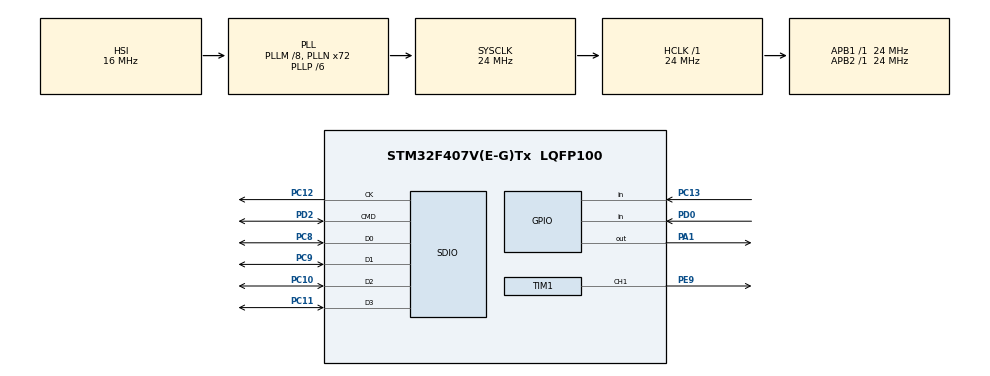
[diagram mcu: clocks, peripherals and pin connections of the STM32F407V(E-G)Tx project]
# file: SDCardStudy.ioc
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Dma.Request0=SDIO_TX
Dma.Request1=SDIO_RX
Dma.SDIO_RX.1.Direction=DMA_PERIPH_TO_MEMORY
Dma.SDIO_RX.1.FIFOMode=DMA_FIFOMODE_ENABLE
Dma.SDIO_RX.1.FIFOThreshold=DMA_FIFO_THRESHOLD_FULL
Dma.SDIO_RX.1.Instance=DMA2_Stream6
Dma.SDIO_RX.1.MemBurst=DMA_MBURST_INC4
Dma.SDIO_RX.1.MemDataAlignment=DMA_MDATAALIGN_WORD
Dma.SDIO_RX.1.MemInc=DMA_MINC_ENABLE
Dma.SDIO_RX.1.Mode=DMA_PFCTRL
Dma.SDIO_RX.1.PeriphBurst=DMA_PBURST_INC4
Dma.SDIO_RX.1.PeriphDataAlignment=DMA_PDATAALIGN_WORD
Dma.SDIO_RX.1.PeriphInc=DMA_PINC_DISABLE
Dma.SDIO_RX.1.Priority=DMA_PRIORITY_LOW
Dma.SDIO_TX.0.Direction=DMA_MEMORY_TO_PERIPH
Dma.SDIO_TX.0.FIFOMode=DMA_FIFOMODE_ENABLE
Dma.SDIO_TX.0.FIFOThreshold=DMA_FIFO_THRESHOLD_FULL
Dma.SDIO_TX.0.Instance=DMA2_Stream3
Dma.SDIO_TX.0.MemBurst=DMA_MBURST_INC4
Dma.SDIO_TX.0.MemDataAlignment=DMA_MDATAALIGN_WORD
Dma.SDIO_TX.0.MemInc=DMA_MINC_ENABLE
Dma.SDIO_TX.0.Mode=DMA_PFCTRL
Dma.SDIO_TX.0.PeriphBurst=DMA_PBURST_INC4
Dma.SDIO_TX.0.PeriphDataAlignment=DMA_PDATAALIGN_WORD
Dma.SDIO_TX.0.PeriphInc=DMA_PINC_DISABLE
Dma.SDIO_TX.0.Priority=DMA_PRIORITY_LOW
FATFS.BSP.number=1
FATFS.USE_DMA_CODE_SD=1
FATFS._MAX_SS=4096
FATFS._USE_LFN=0
FATFS0.BSP.STBoard=false
FATFS0.BSP.api=Unknown
FATFS0.BSP.instance=PC13-ANTI_TAMP
FATFS0.BSP.ip=GPIO
FATFS0.BSP.mode=Input
FATFS0.BSP.name=Detect_SDIO
FATFS0.BSP.solution=PC13-ANTI_TAMP
FREERTOS.Tasks01=sdCardTask,0,256,CallbackSdCardTask,Default,NULL,Dynamic,NULL,NULL
FREERTOS.configUSE_NEWLIB_REENTRANT=1
Mcu.Family=STM32F4
Mcu.Name=STM32F407V(E-G)Tx
Mcu.Package=LQFP100
NVIC.DMA2_Stream3_IRQn=true\:5\:0\:false\:false\:true\:true\:false\:true\:true
NVIC.DMA2_Stream6_IRQn=true\:5\:0\:false\:false\:true\:true\:false\:true\:true
NVIC.PriorityGroup=NVIC_PRIORITYGROUP_4
NVIC.SDIO_IRQn=true\:5\:0\:false\:false\:true\:true\:true\:true\:true
NVIC.TIM1_BRK_TIM9_IRQn=true\:5\:0\:false\:false\:true\:true\:true\:true\:true
NVIC.TIM1_CC_IRQn=true\:5\:0\:false\:false\:true\:true\:true\:true\:true
NVIC.TIM1_TRG_COM_TIM11_IRQn=true\:5\:0\:false\:false\:true\:true\:true\:true\:true
NVIC.TIM1_UP_TIM10_IRQn=true\:5\:0\:false\:false\:true\:true\:true\:true\:true
NVIC.TIM2_IRQn=true\:15\:0\:false\:false\:true\:false\:false\:true\:true
NVIC.TimeBase=TIM2_IRQn
NVIC.TimeBaseIP=TIM2
PA1.Signal=GPIO_Output
PC10.Mode=SD_4_bits_Wide_bus
PC10.Signal=SDIO_D2
PC11.Mode=SD_4_bits_Wide_bus
PC11.Signal=SDIO_D3
PC12.Mode=SD_4_bits_Wide_bus
PC12.Signal=SDIO_CK
PC13-ANTI_TAMP.Signal=GPIO_Input
PC14-OSC32_IN.Mode=LSE-External-Oscillator
PC14-OSC32_IN.Signal=RCC_OSC32_IN
PC15-OSC32_OUT.Mode=LSE-External-Oscillator
PC15-OSC32_OUT.Signal=RCC_OSC32_OUT
PC8.Mode=SD_4_bits_Wide_bus
PC8.Signal=SDIO_D0
PC9.Mode=SD_4_bits_Wide_bus
PC9.Signal=SDIO_D1
PD0.Signal=GPIO_Input
PD2.Mode=SD_4_bits_Wide_bus
PD2.Signal=SDIO_CMD
PE9.Signal=S_TIM1_CH1
PH0-OSC_IN.Mode=HSE-External-Oscillator
PH0-OSC_IN.Signal=RCC_OSC_IN
PH1-OSC_OUT.Mode=HSE-External-Oscillator
PH1-OSC_OUT.Signal=RCC_OSC_OUT
ProjectManager.HeapSize=0x200
ProjectManager.StackSize=0x400
ProjectManager.TargetToolchain=STM32CubeIDE
RCC.48MHZClocksFreq_Value=48000000
RCC.AHBFreq_Value=24000000
RCC.APB1Freq_Value=24000000
RCC.APB1TimFreq_Value=24000000
RCC.APB2Freq_Value=24000000
RCC.APB2TimFreq_Value=24000000
RCC.CortexFreq_Value=24000000
RCC.HCLKFreq_Value=24000000
RCC.HSE_VALUE=25000000
RCC.HSI_VALUE=16000000
RCC.PLLM=8
RCC.PLLN=72
RCC.PLLP=RCC_PLLP_DIV6
RCC.PLLQ=3
RCC.SYSCLKFreq_VALUE=24000000
RCC.SYSCLKSource=RCC_SYSCLKSOURCE_PLLCLK
RCC.VCOOutputFreq_Value=144000000
SDIO.ClockDiv=2
SH.S_TIM1_CH1.0=TIM1_CH1,Output Compare1 CH1
TIM1.AutoReloadPreload=TIM_AUTORELOAD_PRELOAD_ENABLE
TIM1.Channel-Output\ Compare1\ CH1=TIM_CHANNEL_1
TIM1.OC1Preload=ENABLE
TIM1.Period=100
TIM1.Prescaler=40000
VP_FATFS_VS_SDIO.Mode=SDIO
VP_FREERTOS_VS_CMSIS_V1.Mode=CMSIS_V1
VP_SYS_VS_tim2.Mode=TIM2
VP_TIM1_VS_ClockSourceINT.Mode=Internal
board=custom

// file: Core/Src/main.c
/* USER CODE BEGIN Header */
/**
  ******************************************************************************
  * @file           : main.c
  * @brief          : Main program body
  ******************************************************************************
  * @attention
  *
  * Copyright (c) 2024 STMicroelectronics.
  * All rights reserved.
  *
  * This software is licensed under terms that can be found in the LICENSE file
  * in the root directory of this software component.
  * If no LICENSE file comes with this software, it is provided AS-IS.
  *
  ******************************************************************************
  */
/* USER CODE END Header */
#include "main.h"
#include "cmsis_os.h"
#include "fatfs.h"

/* USER CODE BEGIN Includes */
#include "stdlib.h"
#include "string.h"
#include "stdio.h"
#include "SD_lib.h"
/* USER CODE END Includes */

SD_HandleTypeDef hsd;
DMA_HandleTypeDef hdma_sdio_tx;
DMA_HandleTypeDef hdma_sdio_rx;

TIM_HandleTypeDef htim1;

osThreadId sdCardTaskHandle;

void SystemClock_Config(void);
static void MX_GPIO_Init(void);
static void MX_DMA_Init(void);
static void MX_SDIO_SD_Init(void);
static void MX_TIM1_Init(void);
void CallbackSdCardTask(void const * argument);

/* USER CODE BEGIN 0 */

FATFS FAT;
FIL file;
FILINFO fili;
UINT testByte;

char SDroot[1] = "/";

/* USER CODE END 0 */

int main(void)
{

  /* MCU Configuration--------------------------------------------------------*/

  /* Reset of all peripherals, Initializes the Flash interface and the Systick. */
  HAL_Init();

  /* Configure the system clock */
  SystemClock_Config();

  /* Initialize all configured peripherals */
  MX_GPIO_Init();
  MX_DMA_Init();
  MX_SDIO_SD_Init();
  MX_TIM1_Init();
  MX_FATFS_Init();
  /* USER CODE BEGIN 2 */
  HAL_TIM_Base_Start_IT(&htim1);

  /* USER CODE END 2 */

  /* Create the thread(s) */
  /* definition and creation of sdCardTask */
  osThreadDef(sdCardTask, CallbackSdCardTask, osPriorityNormal, 0, 256);
  sdCardTaskHandle = osThreadCreate(osThread(sdCardTask), NULL);

  /* Start scheduler */
  osKernelStart();

  /* We should never get here as control is now taken by the scheduler */
  /* Infinite loop */
  while (1)
  {

  }
}

void SystemClock_Config(void)
{
  RCC_OscInitTypeDef RCC_OscInitStruct = {0};
  RCC_ClkInitTypeDef RCC_ClkInitStruct = {0};

  /** Configure the main internal regulator output voltage
  */
  __HAL_RCC_PWR_CLK_ENABLE();
  __HAL_PWR_VOLTAGESCALING_CONFIG(PWR_REGULATOR_VOLTAGE_SCALE1);

  /** Initializes the RCC Oscillators according to the specified parameters
  * in the RCC_OscInitTypeDef structure.
  */
  RCC_OscInitStruct.OscillatorType = RCC_OSCILLATORTYPE_HSI;
  RCC_OscInitStruct.HSIState = RCC_HSI_ON;
  RCC_OscInitStruct.HSICalibrationValue = RCC_HSICALIBRATION_DEFAULT;
  RCC_OscInitStruct.PLL.PLLState = RCC_PLL_ON;
  RCC_OscInitStruct.PLL.PLLSource = RCC_PLLSOURCE_HSI;
  RCC_OscInitStruct.PLL.PLLM = 8;
  RCC_OscInitStruct.PLL.PLLN = 72;
  RCC_OscInitStruct.PLL.PLLP = RCC_PLLP_DIV6;
  RCC_OscInitStruct.PLL.PLLQ = 3;
  if (HAL_RCC_OscConfig(&RCC_OscInitStruct) != HAL_OK)
  {
    Error_Handler();
  }

  /** Initializes the CPU, AHB and APB buses clocks
  */
  RCC_ClkInitStruct.ClockType = RCC_CLOCKTYPE_HCLK|RCC_CLOCKTYPE_SYSCLK
                              |RCC_CLOCKTYPE_PCLK1|RCC_CLOCKTYPE_PCLK2;
  RCC_ClkInitStruct.SYSCLKSource = RCC_SYSCLKSOURCE_PLLCLK;
  RCC_ClkInitStruct.AHBCLKDivider = RCC_SYSCLK_DIV1;
  RCC_ClkInitStruct.APB1CLKDivider = RCC_HCLK_DIV1;
  RCC_ClkInitStruct.APB2CLKDivider = RCC_HCLK_DIV1;

  if (HAL_RCC_ClockConfig(&RCC_ClkInitStruct, FLASH_LATENCY_0) != HAL_OK)
  {
    Error_Handler();
  }
}

static void MX_SDIO_SD_Init(void)
{

  hsd.Instance = SDIO;
  hsd.Init.ClockEdge = SDIO_CLOCK_EDGE_RISING;
  hsd.Init.ClockBypass = SDIO_CLOCK_BYPASS_DISABLE;
  hsd.Init.ClockPowerSave = SDIO_CLOCK_POWER_SAVE_DISABLE;
  hsd.Init.BusWide = SDIO_BUS_WIDE_4B;
  hsd.Init.HardwareFlowControl = SDIO_HARDWARE_FLOW_CONTROL_DISABLE;
  hsd.Init.ClockDiv = 2;
  /* USER CODE BEGIN SDIO_Init 2 */
  hsd.Init.BusWide = SDIO_BUS_WIDE_1B;
  /* USER CODE END SDIO_Init 2 */

}

static void MX_TIM1_Init(void)
{

  TIM_ClockConfigTypeDef sClockSourceConfig = {0};
  TIM_MasterConfigTypeDef sMasterConfig = {0};
  TIM_OC_InitTypeDef sConfigOC = {0};
  TIM_BreakDeadTimeConfigTypeDef sBreakDeadTimeConfig = {0};

  htim1.Instance = TIM1;
  htim1.Init.Prescaler = 40000;
  htim1.Init.CounterMode = TIM_COUNTERMODE_UP;
  htim1.Init.Period = 100;
  htim1.Init.ClockDivision = TIM_CLOCKDIVISION_DIV1;
  htim1.Init.RepetitionCounter = 0;
  htim1.Init.AutoReloadPreload = TIM_AUTORELOAD_PRELOAD_ENABLE;
  if (HAL_TIM_Base_Init(&htim1) != HAL_OK)
  {
    Error_Handler();
  }
  sClockSourceConfig.ClockSource = TIM_CLOCKSOURCE_INTERNAL;
  if (HAL_TIM_ConfigClockSource(&htim1, &sClockSourceConfig) != HAL_OK)
  {
    Error_Handler();
  }
  if (HAL_TIM_OC_Init(&htim1) != HAL_OK)
  {
    Error_Handler();
  }
  sMasterConfig.MasterOutputTrigger = TIM_TRGO_RESET;
  sMasterConfig.MasterSlaveMode = TIM_MASTERSLAVEMODE_DISABLE;
  if (HAL_TIMEx_MasterConfigSynchronization(&htim1, &sMasterConfig) != HAL_OK)
  {
    Error_Handler();
  }
  sConfigOC.OCMode = TIM_OCMODE_TIMING;
  sConfigOC.Pulse = 0;
  sConfigOC.OCPolarity = TIM_OCPOLARITY_HIGH;
  sConfigOC.OCNPolarity = TIM_OCNPOLARITY_HIGH;
  sConfigOC.OCFastMode = TIM_OCFAST_DISABLE;
  sConfigOC.OCIdleState = TIM_OCIDLESTATE_RESET;
  sConfigOC.OCNIdleState = TIM_OCNIDLESTATE_RESET;
  if (HAL_TIM_OC_ConfigChannel(&htim1, &sConfigOC, TIM_CHANNEL_1) != HAL_OK)
  {
    Error_Handler();
  }
  __HAL_TIM_ENABLE_OCxPRELOAD(&htim1, TIM_CHANNEL_1);
  sBreakDeadTimeConfig.OffStateRunMode = TIM_OSSR_DISABLE;
  sBreakDeadTimeConfig.OffStateIDLEMode = TIM_OSSI_DISABLE;
  sBreakDeadTimeConfig.LockLevel = TIM_LOCKLEVEL_OFF;
  sBreakDeadTimeConfig.DeadTime = 0;
  sBreakDeadTimeConfig.BreakState = TIM_BREAK_DISABLE;
  sBreakDeadTimeConfig.BreakPolarity = TIM_BREAKPOLARITY_HIGH;
  sBreakDeadTimeConfig.AutomaticOutput = TIM_AUTOMATICOUTPUT_DISABLE;
  if (HAL_TIMEx_ConfigBreakDeadTime(&htim1, &sBreakDeadTimeConfig) != HAL_OK)
  {
    Error_Handler();
  }
  HAL_TIM_MspPostInit(&htim1);

}

static void MX_DMA_Init(void)
{

  /* DMA controller clock enable */
  __HAL_RCC_DMA2_CLK_ENABLE();

  /* DMA interrupt init */
  /* DMA2_Stream3_IRQn interrupt configuration */
  HAL_NVIC_SetPriority(DMA2_Stream3_IRQn, 5, 0);
  HAL_NVIC_EnableIRQ(DMA2_Stream3_IRQn);
  /* DMA2_Stream6_IRQn interrupt configuration */
  HAL_NVIC_SetPriority(DMA2_Stream6_IRQn, 5, 0);
  HAL_NVIC_EnableIRQ(DMA2_Stream6_IRQn);

}

static void MX_GPIO_Init(void)
{
  GPIO_InitTypeDef GPIO_InitStruct = {0};

  /* GPIO Ports Clock Enable */
  __HAL_RCC_GPIOC_CLK_ENABLE();
  __HAL_RCC_GPIOH_CLK_ENABLE();
  __HAL_RCC_GPIOA_CLK_ENABLE();
  __HAL_RCC_GPIOE_CLK_ENABLE();
  __HAL_RCC_GPIOD_CLK_ENABLE();

  /*Configure GPIO pin Output Level */
  HAL_GPIO_WritePin(GPIOA, GPIO_PIN_1, GPIO_PIN_RESET);

  /*Configure GPIO pin : PC13 */
  GPIO_InitStruct.Pin = GPIO_PIN_13;
  GPIO_InitStruct.Mode = GPIO_MODE_INPUT;
  GPIO_InitStruct.Pull = GPIO_NOPULL;
  HAL_GPIO_Init(GPIOC, &GPIO_InitStruct);

  /*Configure GPIO pin : PA1 */
  GPIO_InitStruct.Pin = GPIO_PIN_1;
  GPIO_InitStruct.Mode = GPIO_MODE_OUTPUT_PP;
  GPIO_InitStruct.Pull = GPIO_NOPULL;
  GPIO_InitStruct.Speed = GPIO_SPEED_FREQ_LOW;
  HAL_GPIO_Init(GPIOA, &GPIO_InitStruct);

  /*Configure GPIO pin : PD0 */
  GPIO_InitStruct.Pin = GPIO_PIN_0;
  GPIO_InitStruct.Mode = GPIO_MODE_INPUT;
  GPIO_InitStruct.Pull = GPIO_NOPULL;
  HAL_GPIO_Init(GPIOD, &GPIO_InitStruct);

}

void CallbackSdCardTask(void const * argument)
{
  /* USER CODE BEGIN 5 */
  /* Infinite loop */
  for(;;)
  {
	  char buffer[100] = "\n CONTENT TO WRITE ON FILE 69 \n";
	  char* resp = (char*)malloc(sizeof(char) * 30);
	  resp = Mount_SD();
	  HAL_Delay(500);

	//  resp = CreateFileSD("arquivotex.txt");

	  resp = WriteToFile_SD("arquivotex.txt", buffer);
    osDelay(1);
  }
  /* USER CODE END 5 */
}

void HAL_TIM_PeriodElapsedCallback(TIM_HandleTypeDef *htim)
{
  if (htim->Instance == TIM2) {
    HAL_IncTick();
  }
}

void Error_Handler(void)
{
  __disable_irq();
  while (1)
  {
  }
}
